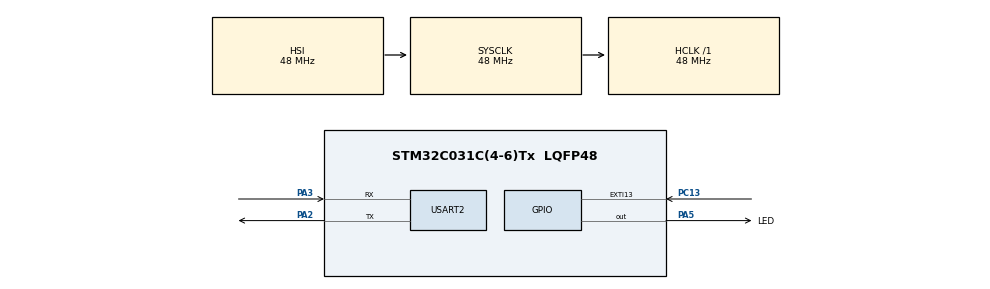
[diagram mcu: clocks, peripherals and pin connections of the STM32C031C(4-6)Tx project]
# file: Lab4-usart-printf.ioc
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Mcu.Family=STM32C0
Mcu.Name=STM32C031C(4-6)Tx
Mcu.Package=LQFP48
PA2.Mode=Asynchronous
PA2.Signal=USART2_TX
PA3.Mode=Asynchronous
PA3.Signal=USART2_RX
PA5.GPIO_Label=LED
PA5.Signal=GPIO_Output
PC13.Signal=GPXTI13
ProjectManager.HeapSize=0x200
ProjectManager.StackSize=0x400
ProjectManager.TargetToolchain=STM32CubeIDE
RCC.ADCFreq_Value=48000000
RCC.AHBFreq_Value=48000000
RCC.CortexFreq_Value=48000000
RCC.EXTERNAL_CLOCK_VALUE=12288000
RCC.HCLKFreq_Value=48000000
RCC.HSE_VALUE=8000000
RCC.HSISYSCLKDivider=RCC_HSI_DIV1
RCC.HSI_VALUE=48000000
RCC.LSE_VALUE=32768
RCC.SYSCLKFreq_VALUE=48000000
USART2.VirtualMode-Asynchronous=VM_ASYNC
board=custom

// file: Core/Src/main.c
/* USER CODE BEGIN Header */
/**
  ******************************************************************************
  * @file           : main.c
  * @brief          : Main program body
  ******************************************************************************
  * @attention
  *
  * Copyright (c) 2023 STMicroelectronics.
  * All rights reserved.
  *
  * This software is licensed under terms that can be found in the LICENSE file
  * in the root directory of this software component.
  * If no LICENSE file comes with this software, it is provided AS-IS.
  *
  ******************************************************************************
  */
/* USER CODE END Header */
#include "main.h"

/* USER CODE BEGIN Includes */
#include <stdio.h>
#include <stdbool.h>
/* USER CODE END Includes */

UART_HandleTypeDef huart2;

/* USER CODE BEGIN PV */
bool	bRunLoop;

/* USER CODE END PV */

void SystemClock_Config(void);
static void MX_GPIO_Init(void);
static void MX_USART2_UART_Init(void);
/* USER CODE BEGIN PFP */
#define PUTCHAR_PROTOTYPE int __io_putchar(int ch)
/* USER CODE END PFP */

/* USER CODE BEGIN 0 */
PUTCHAR_PROTOTYPE
{
	HAL_UART_Transmit(& huart2 , (uint8_t *)&ch, 1, 0xFFFF);
	return ch;
}
/* USER CODE END 0 */

int main(void)
{

  /* MCU Configuration--------------------------------------------------------*/

  /* Reset of all peripherals, Initializes the Flash interface and the Systick. */
  HAL_Init();

  /* Configure the system clock */
  SystemClock_Config();

  /* Initialize all configured peripherals */
  MX_GPIO_Init();
  MX_USART2_UART_Init();
  /* USER CODE BEGIN 2 */
  printf("** Hello World ** \n\r");

  printf("HAL Version: %lu.\r\n", HAL_GetHalVersion());
  printf("HAL RevID: %lu.\r\n", HAL_GetREVID());
  printf("HAL DevID: %lu.\r\n", HAL_GetDEVID());
  printf("HAL UUIDw0: %lu.\r\n", HAL_GetUIDw0());
  printf("HAL UUIDw0: %lu.\r\n", HAL_GetUIDw1());
  printf("HAL UUIDw0: %lu.\r\n", HAL_GetUIDw2());

  printf("SysTick at start %lu. \r\n", HAL_GetTick());

  HAL_PWR_EnterSLEEPMode(PWR_MAINREGULATOR_ON, PWR_SLEEPENTRY_WFI);
  /* USER CODE END 2 */

  /* Infinite loop */
  /* USER CODE BEGIN WHILE */
  while (1)
  {
	  printf("SysTick is %lu. \r\n", HAL_GetTick());
	  while (!bRunLoop)
		  __WFI();
	  printf("exit sleep. \r\n");
	  bRunLoop = false;
	  LL_GPIO_TogglePin(LED_GPIO_Port, LED_Pin);

	  //HAL_Delay(1000);
    /* USER CODE END WHILE */

  }
}

void SystemClock_Config(void)
{
  RCC_OscInitTypeDef RCC_OscInitStruct = {0};
  RCC_ClkInitTypeDef RCC_ClkInitStruct = {0};

  /** Initializes the RCC Oscillators according to the specified parameters
  * in the RCC_OscInitTypeDef structure.
  */
  RCC_OscInitStruct.OscillatorType = RCC_OSCILLATORTYPE_HSI;
  RCC_OscInitStruct.HSIState = RCC_HSI_ON;
  RCC_OscInitStruct.HSIDiv = RCC_HSI_DIV1;
  RCC_OscInitStruct.HSICalibrationValue = RCC_HSICALIBRATION_DEFAULT;
  if (HAL_RCC_OscConfig(&RCC_OscInitStruct) != HAL_OK)
  {
    Error_Handler();
  }

  /** Initializes the CPU, AHB and APB buses clocks
  */
  RCC_ClkInitStruct.ClockType = RCC_CLOCKTYPE_HCLK|RCC_CLOCKTYPE_SYSCLK
                              |RCC_CLOCKTYPE_PCLK1;
  RCC_ClkInitStruct.SYSCLKSource = RCC_SYSCLKSOURCE_HSI;
  RCC_ClkInitStruct.SYSCLKDivider = RCC_SYSCLK_DIV1;
  RCC_ClkInitStruct.AHBCLKDivider = RCC_HCLK_DIV1;
  RCC_ClkInitStruct.APB1CLKDivider = RCC_APB1_DIV1;

  if (HAL_RCC_ClockConfig(&RCC_ClkInitStruct, FLASH_LATENCY_1) != HAL_OK)
  {
    Error_Handler();
  }
}

static void MX_USART2_UART_Init(void)
{

  huart2.Instance = USART2;
  huart2.Init.BaudRate = 115200;
  huart2.Init.WordLength = UART_WORDLENGTH_8B;
  huart2.Init.StopBits = UART_STOPBITS_1;
  huart2.Init.Parity = UART_PARITY_NONE;
  huart2.Init.Mode = UART_MODE_TX_RX;
  huart2.Init.HwFlowCtl = UART_HWCONTROL_NONE;
  huart2.Init.OverSampling = UART_OVERSAMPLING_16;
  huart2.Init.OneBitSampling = UART_ONE_BIT_SAMPLE_DISABLE;
  huart2.Init.ClockPrescaler = UART_PRESCALER_DIV1;
  huart2.AdvancedInit.AdvFeatureInit = UART_ADVFEATURE_NO_INIT;
  if (HAL_UART_Init(&huart2) != HAL_OK)
  {
    Error_Handler();
  }

}

static void MX_GPIO_Init(void)
{
  LL_EXTI_InitTypeDef EXTI_InitStruct = {0};
  LL_GPIO_InitTypeDef GPIO_InitStruct = {0};

  /* GPIO Ports Clock Enable */
  LL_IOP_GRP1_EnableClock(LL_IOP_GRP1_PERIPH_GPIOC);
  LL_IOP_GRP1_EnableClock(LL_IOP_GRP1_PERIPH_GPIOA);

  /**/
  LL_GPIO_ResetOutputPin(LED_GPIO_Port, LED_Pin);

  /**/
  LL_EXTI_SetEXTISource(LL_EXTI_CONFIG_PORTC, LL_EXTI_CONFIG_LINE13);

  /**/
  EXTI_InitStruct.Line_0_31 = LL_EXTI_LINE_13;
  EXTI_InitStruct.LineCommand = ENABLE;
  EXTI_InitStruct.Mode = LL_EXTI_MODE_IT;
  EXTI_InitStruct.Trigger = LL_EXTI_TRIGGER_RISING;
  LL_EXTI_Init(&EXTI_InitStruct);

  /**/
  LL_GPIO_SetPinPull(GPIOC, LL_GPIO_PIN_13, LL_GPIO_PULL_NO);

  /**/
  LL_GPIO_SetPinMode(GPIOC, LL_GPIO_PIN_13, LL_GPIO_MODE_INPUT);

  /**/
  GPIO_InitStruct.Pin = LED_Pin;
  GPIO_InitStruct.Mode = LL_GPIO_MODE_OUTPUT;
  GPIO_InitStruct.Speed = LL_GPIO_SPEED_FREQ_LOW;
  GPIO_InitStruct.OutputType = LL_GPIO_OUTPUT_PUSHPULL;
  GPIO_InitStruct.Pull = LL_GPIO_PULL_NO;
  LL_GPIO_Init(LED_GPIO_Port, &GPIO_InitStruct);

}

void Error_Handler(void)
{
  __disable_irq();
  while (1)
  {
  }
}
